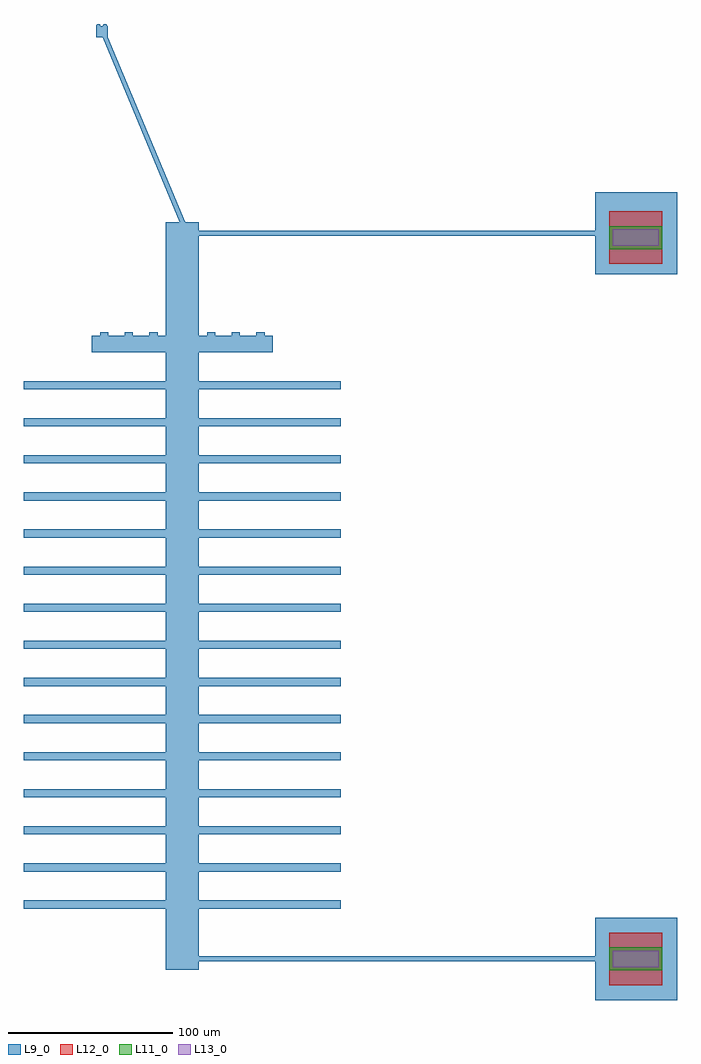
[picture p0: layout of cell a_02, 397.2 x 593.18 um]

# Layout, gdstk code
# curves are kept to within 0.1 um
import gdstk
lib = gdstk.Library(unit=1e-6, precision=1e-09)
def R(c, l, rs):  # rectangles x0, y0, x1, y1
    for r in rs: c.add(gdstk.rectangle(r[:2], r[2:], *l))
def P(c, l, *ps):  # polygons
    for p in ps: c.add(gdstk.Polygon(p, *l))
L9_0 = (9, 0)
L11_0 = (11, 0)
L12_0 = (12, 0)
L13_0 = (13, 0)

a_02 = lib.new_cell('a_02')
P(a_02, L9_0, [(-2740.261,6760.618),(-2740.261,6784.118),(-2981.061,6784.118),(-2981.061,6779.118),(-3001.061,6779.118),(-3001.061,6816.118),(-3087.461,6816.118),(-3087.461,6821.118),(-3001.061,6821.118),(-3001.061,6838.668),(-3087.461,6838.668),(-3087.461,6843.668),(-3001.061,6843.668),(-3001.061,6861.218),(-3087.461,6861.218),(-3087.461,6866.218),(-3001.061,6866.218),(-3001.061,6883.768),(-3087.461,6883.768),(-3087.461,6888.768),(-3001.061,6888.768),(-3001.061,6906.318),(-3087.461,6906.318),(-3087.461,6911.318),(-3001.061,6911.318),(-3001.061,6928.868),(-3087.461,6928.868),(-3087.461,6933.868),(-3001.061,6933.868),(-3001.061,6951.418),(-3087.461,6951.418),(-3087.461,6956.418),(-3001.061,6956.418),(-3001.061,6973.968),(-3087.461,6973.968),(-3087.461,6978.968),(-3001.061,6978.968),(-3001.061,6996.518),(-3087.461,6996.518),(-3087.461,7001.518),(-3001.061,7001.518),(-3001.061,7019.068),(-3087.461,7019.068),(-3087.461,7024.068),(-3001.061,7024.068),(-3001.061,7041.618),(-3087.461,7041.618),(-3087.461,7046.618),(-3001.061,7046.618),(-3001.061,7064.168),(-3087.461,7064.168),(-3087.461,7069.168),(-3001.061,7069.168),(-3001.061,7086.718),(-3087.461,7086.718),(-3087.461,7091.718),(-3001.061,7091.718),(-3001.061,7109.268),(-3087.461,7109.268),(-3087.461,7114.268),(-3001.061,7114.268),(-3001.061,7131.818),(-3087.461,7131.818),(-3087.461,7136.818),(-3001.061,7136.818),(-3001.061,7154.368),(-3046.061,7154.368),(-3046.061,7164.368),(-3041.061,7164.368),(-3041.061,7166.368),(-3036.061,7166.368),(-3036.061,7164.368),(-3026.061,7164.368),(-3026.061,7166.368),(-3021.061,7166.368),(-3021.061,7164.368),(-3011.061,7164.368),(-3011.061,7166.368),(-3006.061,7166.368),(-3006.061,7164.368),(-3001.061,7164.368),(-3001.061,7233.168),(-2992.686,7233.168),(-3039.57,7345.8),(-3043.32,7345.8),(-3043.316,7352.651),(-3043.127,7353.218),(-3042.651,7353.657),(-3041.969,7353.796),(-3041.319,7353.549),(-3040.901,7352.993),(-3040.82,7352.3),(-3039.32,7352.3),(-3039.256,7352.946),(-3038.936,7353.452),(-3038.418,7353.751),(-3037.82,7353.775),(-3037.041,7353.26),(-3036.82,7352.3),(-3036.32,7352.3),(-3036.32,7345.8),(-2989.436,7233.168),(-2981.061,7233.168),(-2981.061,7228.168),(-2740.261,7228.168),(-2740.261,7251.668),(-2690.261,7251.668),(-2690.261,7201.668),(-2740.261,7201.668),(-2740.261,7225.168),(-2981.061,7225.168),(-2981.061,7164.368),(-2976.061,7164.368),(-2976.061,7166.368),(-2971.061,7166.368),(-2971.061,7164.368),(-2961.061,7164.368),(-2961.061,7166.368),(-2956.061,7166.368),(-2956.061,7164.368),(-2946.061,7164.368),(-2946.061,7166.368),(-2941.061,7166.368),(-2941.061,7164.368),(-2936.061,7164.368),(-2936.061,7154.368),(-2981.061,7154.368),(-2981.061,7136.818),(-2894.661,7136.818),(-2894.661,7131.818),(-2981.061,7131.818),(-2981.061,7114.268),(-2894.661,7114.268),(-2894.661,7109.268),(-2981.061,7109.268),(-2981.061,7091.718),(-2894.661,7091.718),(-2894.661,7086.718),(-2981.061,7086.718),(-2981.061,7069.168),(-2894.661,7069.168),(-2894.661,7064.168),(-2981.061,7064.168),(-2981.061,7046.618),(-2894.661,7046.618),(-2894.661,7041.618),(-2981.061,7041.618),(-2981.061,7024.068),(-2894.661,7024.068),(-2894.661,7019.068),(-2981.061,7019.068),(-2981.061,7001.518),(-2894.661,7001.518),(-2894.661,6996.518),(-2981.061,6996.518),(-2981.061,6978.968),(-2894.661,6978.968),(-2894.661,6973.968),(-2981.061,6973.968),(-2981.061,6956.418),(-2894.661,6956.418),(-2894.661,6951.418),(-2981.061,6951.418),(-2981.061,6933.868),(-2894.661,6933.868),(-2894.661,6928.868),(-2981.061,6928.868),(-2981.061,6911.318),(-2894.661,6911.318),(-2894.661,6906.318),(-2981.061,6906.318),(-2981.061,6888.768),(-2894.661,6888.768),(-2894.661,6883.768),(-2981.061,6883.768),(-2981.061,6866.218),(-2894.661,6866.218),(-2894.661,6861.218),(-2981.061,6861.218),(-2981.061,6843.668),(-2894.661,6843.668),(-2894.661,6838.668),(-2981.061,6838.668),(-2981.061,6821.118),(-2894.661,6821.118),(-2894.661,6816.118),(-2981.061,6816.118),(-2981.061,6787.118),(-2740.261,6787.118),(-2740.261,6810.618),(-2690.261,6810.618),(-2690.261,6760.618)])
R(a_02, L11_0, [(-2731.461,6778.618,-2699.461,6792.618), (-2731.461,7217,-2699.461,7231)])
R(a_02, L12_0, [(-2731.461,6769.618,-2699.461,6801.618), (-2731.461,7208,-2699.461,7240)])
R(a_02, L13_0, [(-2729.461,6780.618,-2701.461,6790.618), (-2729.461,7219,-2701.461,7229)])

lib.write_gds('a_02.gds')
